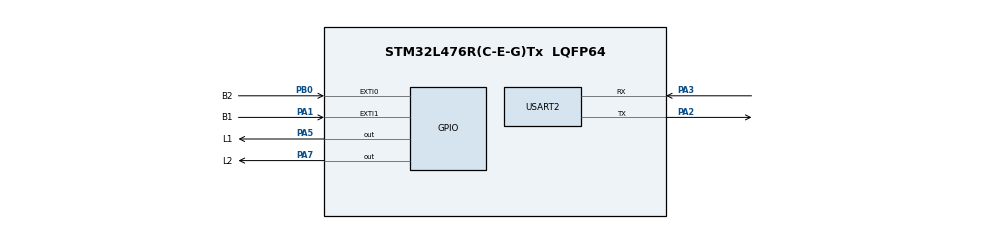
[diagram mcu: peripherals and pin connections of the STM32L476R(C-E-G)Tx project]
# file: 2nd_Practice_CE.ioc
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Mcu.Family=STM32L4
Mcu.Name=STM32L476R(C-E-G)Tx
Mcu.Package=LQFP64
NVIC.EXTI0_IRQn=true\:0\:0\:false\:false\:true\:true\:true\:true
NVIC.EXTI1_IRQn=true\:0\:0\:false\:false\:true\:true\:true\:true
NVIC.PriorityGroup=NVIC_PRIORITYGROUP_4
PA1.GPIO_Label=B1
PA1.Signal=GPXTI1
PA2.Mode=Asynchronous
PA2.Signal=USART2_TX
PA3.Mode=Asynchronous
PA3.Signal=USART2_RX
PA5.GPIO_Label=L1
PA5.Signal=GPIO_Output
PA7.GPIO_Label=L2
PA7.Signal=GPIO_Output
PB0.GPIO_Label=B2
PB0.Signal=GPXTI0
ProjectManager.HeapSize=0x200
ProjectManager.StackSize=0x400
ProjectManager.TargetToolchain=STM32CubeIDE
RCC.HSE_VALUE=8000000
RCC.HSI_VALUE=16000000
RCC.LSE_VALUE=32768
RCC.MSI_VALUE=4000000
RCC.VCOOutputFreq_Value=32000000
USART2.VirtualMode-Asynchronous=VM_ASYNC
board=custom

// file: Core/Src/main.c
/* USER CODE BEGIN Header */
/**
  ******************************************************************************
  * @file           : main.c
  * @brief          : Main program body
  ******************************************************************************
  * @attention
  *
  * Copyright (c) 2024 STMicroelectronics.
  * All rights reserved.
  *
  * This software is licensed under terms that can be found in the LICENSE file
  * in the root directory of this software component.
  * If no LICENSE file comes with this software, it is provided AS-IS.
  *
  ******************************************************************************
  */
/* USER CODE END Header */
#include "main.h"

UART_HandleTypeDef huart2;

/* USER CODE BEGIN PV */
// Variables to setting number of blinks
volatile uint32_t left_toggles = 0;
volatile uint32_t right_toggles = 0;
// Variable to call the function
volatile uint32_t turn_left = 0;
volatile uint32_t turn_right = 0;
/* USER CODE END PV */

void SystemClock_Config(void);
static void MX_GPIO_Init(void);
static void MX_USART2_UART_Init(void);

/* USER CODE BEGIN 0 */
void HAL_GPIO_EXTI_Callback(uint16_t GPIO_Pin)
{
	//turn left button settings
	if (GPIO_Pin == B1_Pin) {
		turn_left = 1;
		left_toggles = 6; // 3 times blinking (if it's pressed once)
			}
	}

void turn_signal_left(void) {
    static uint32_t left_toggle_tick = 0;

    if (left_toggles > 0 && HAL_GetTick() >= left_toggle_tick) {
        left_toggle_tick = HAL_GetTick() + 1000;
        HAL_GPIO_TogglePin(LED1_GPIO_Port, LED1_Pin);
        left_toggles--;
    } else if (left_toggles == 0 && HAL_GPIO_ReadPin(LED1_GPIO_Port, LED1_Pin) == GPIO_PIN_SET) {
        HAL_GPIO_WritePin(LED1_GPIO_Port, LED1_Pin, GPIO_PIN_RESET);
    }
}
/* USER CODE END 0 */

int main(void)
{

  /* MCU Configuration--------------------------------------------------------*/

  /* Reset of all peripherals, Initializes the Flash interface and the Systick. */
  HAL_Init();

  /* Configure the system clock */
  SystemClock_Config();

  /* Initialize all configured peripherals */
  MX_GPIO_Init();
  MX_USART2_UART_Init();

  /* Infinite loop */
  while (1)
  {

    /* USER CODE BEGIN 3 */
      if (turn_left == 1) {
          HAL_UART_Transmit(&huart2, (uint8_t*)"Turn Left Button Pressed\r\n", 28, 35);
          turn_signal_left();
          if (left_toggles == 0) {
              turn_left = 0;
          }
      }
  }
  /* USER CODE END 3 */
}

void SystemClock_Config(void)
{
  RCC_OscInitTypeDef RCC_OscInitStruct = {0};
  RCC_ClkInitTypeDef RCC_ClkInitStruct = {0};

  /** Configure the main internal regulator output voltage
  */
  if (HAL_PWREx_ControlVoltageScaling(PWR_REGULATOR_VOLTAGE_SCALE1) != HAL_OK)
  {
    Error_Handler();
  }

  /** Initializes the RCC Oscillators according to the specified parameters
  * in the RCC_OscInitTypeDef structure.
  */
  RCC_OscInitStruct.OscillatorType = RCC_OSCILLATORTYPE_MSI;
  RCC_OscInitStruct.MSIState = RCC_MSI_ON;
  RCC_OscInitStruct.MSICalibrationValue = 0;
  RCC_OscInitStruct.MSIClockRange = RCC_MSIRANGE_6;
  RCC_OscInitStruct.PLL.PLLState = RCC_PLL_NONE;
  if (HAL_RCC_OscConfig(&RCC_OscInitStruct) != HAL_OK)
  {
    Error_Handler();
  }

  /** Initializes the CPU, AHB and APB buses clocks
  */
  RCC_ClkInitStruct.ClockType = RCC_CLOCKTYPE_HCLK|RCC_CLOCKTYPE_SYSCLK
                              |RCC_CLOCKTYPE_PCLK1|RCC_CLOCKTYPE_PCLK2;
  RCC_ClkInitStruct.SYSCLKSource = RCC_SYSCLKSOURCE_MSI;
  RCC_ClkInitStruct.AHBCLKDivider = RCC_SYSCLK_DIV1;
  RCC_ClkInitStruct.APB1CLKDivider = RCC_HCLK_DIV1;
  RCC_ClkInitStruct.APB2CLKDivider = RCC_HCLK_DIV1;

  if (HAL_RCC_ClockConfig(&RCC_ClkInitStruct, FLASH_LATENCY_0) != HAL_OK)
  {
    Error_Handler();
  }
}

static void MX_USART2_UART_Init(void)
{

  huart2.Instance = USART2;
  huart2.Init.BaudRate = 115200;
  huart2.Init.WordLength = UART_WORDLENGTH_8B;
  huart2.Init.StopBits = UART_STOPBITS_1;
  huart2.Init.Parity = UART_PARITY_NONE;
  huart2.Init.Mode = UART_MODE_TX_RX;
  huart2.Init.HwFlowCtl = UART_HWCONTROL_NONE;
  huart2.Init.OverSampling = UART_OVERSAMPLING_16;
  huart2.Init.OneBitSampling = UART_ONE_BIT_SAMPLE_DISABLE;
  huart2.AdvancedInit.AdvFeatureInit = UART_ADVFEATURE_NO_INIT;
  if (HAL_UART_Init(&huart2) != HAL_OK)
  {
    Error_Handler();
  }

}

static void MX_GPIO_Init(void)
{
  GPIO_InitTypeDef GPIO_InitStruct = {0};

  /* GPIO Ports Clock Enable */
  __HAL_RCC_GPIOA_CLK_ENABLE();
  __HAL_RCC_GPIOB_CLK_ENABLE();

  /*Configure GPIO pin Output Level */
  HAL_GPIO_WritePin(GPIOA, L1_Pin|L2_Pin, GPIO_PIN_RESET);

  /*Configure GPIO pin : B1_Pin */
  GPIO_InitStruct.Pin = B1_Pin;
  GPIO_InitStruct.Mode = GPIO_MODE_IT_RISING;
  GPIO_InitStruct.Pull = GPIO_NOPULL;
  HAL_GPIO_Init(B1_GPIO_Port, &GPIO_InitStruct);

  /*Configure GPIO pins : L1_Pin L2_Pin */
  GPIO_InitStruct.Pin = L1_Pin|L2_Pin;
  GPIO_InitStruct.Mode = GPIO_MODE_OUTPUT_PP;
  GPIO_InitStruct.Pull = GPIO_NOPULL;
  GPIO_InitStruct.Speed = GPIO_SPEED_FREQ_LOW;
  HAL_GPIO_Init(GPIOA, &GPIO_InitStruct);

  /*Configure GPIO pin : B2_Pin */
  GPIO_InitStruct.Pin = B2_Pin;
  GPIO_InitStruct.Mode = GPIO_MODE_IT_RISING;
  GPIO_InitStruct.Pull = GPIO_NOPULL;
  HAL_GPIO_Init(B2_GPIO_Port, &GPIO_InitStruct);

  /* EXTI interrupt init*/
  HAL_NVIC_SetPriority(EXTI0_IRQn, 0, 0);
  HAL_NVIC_EnableIRQ(EXTI0_IRQn);

  HAL_NVIC_SetPriority(EXTI1_IRQn, 0, 0);
  HAL_NVIC_EnableIRQ(EXTI1_IRQn);

}

void Error_Handler(void)
{
  __disable_irq();
  while (1)
  {
  }
}
